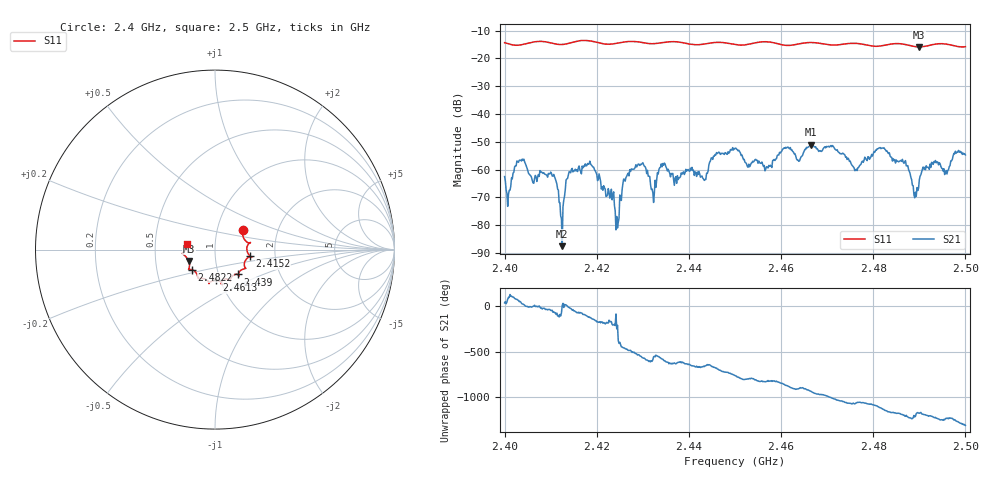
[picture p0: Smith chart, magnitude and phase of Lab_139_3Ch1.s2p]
# Hz S RI R 50
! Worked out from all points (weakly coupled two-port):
!   601 points, 2.4 GHz to 2.5 GHz, reference 50 ohm
!   highest |S21| = -50.98 dB at 2.4665 GHz (marker M1); lowest = -87.5 dB at 2.4125 GHz (marker M2)
!   lowest |S11| = -15.9 dB at 2.49 GHz (marker M3), VSWR 1.38, Z = 36.9 - j4.83 ohm
!   |S11| at or under -10 dB: start of sweep to end of sweep
!   S12 and S22 are empty: the file has one direction only
!   S11 on the Smith chart (normalised r, x): 2.4 GHz: 1.33, +0.31; 2.4152 GHz: 1.48, -0.11; 2.439 GHz: 1.24, -0.36; 2.4613 GHz: 0.96, -0.34; 2.4822 GHz: 0.76, -0.17; 2.5 GHz: 0.73, +0.05
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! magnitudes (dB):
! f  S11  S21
! 2.4 GHz  -14.4  -62.5
! 2.4037 GHz  -15.1  -56.9
! 2.4102 GHz  -14.5  -61.4
! 2.4125 GHz  -15.0  -87.5
! 2.4152 GHz  -14.1  -60.5
! 2.4167 GHz  -13.6  -61.5
! 2.419 GHz  -13.9  -58.7
! 2.4243 GHz  -14.6  -76.8
! 2.4272 GHz  -13.9  -60.0
! 2.4323 GHz  -14.7  -71.8
! 2.4333 GHz  -14.6  -61.6
! 2.439 GHz  -14.5  -61.8
! 2.45 GHz  -15.0  -52.5
! 2.457 GHz  -14.1  -59.1
! 2.4613 GHz  -15.4  -52.0
! 2.4665 GHz  -14.3  -51.0
! 2.4667 GHz  -14.3  -51.1
! 2.4763 GHz  -14.6  -59.9
! 2.4822 GHz  -15.4  -52.3
! 2.4833 GHz  -15.0  -54.2
! 2.49 GHz  -15.9  -63.7
! 2.5 GHz  -15.8  -54.7
